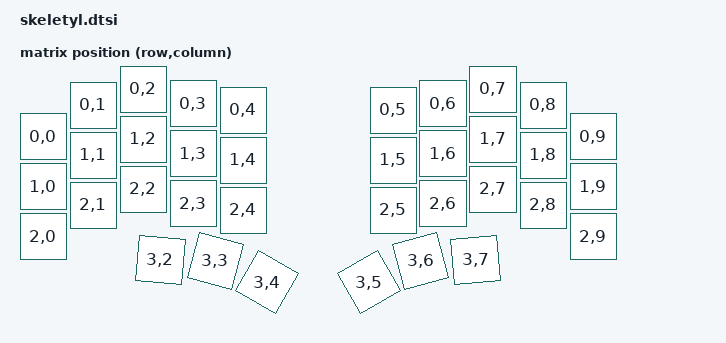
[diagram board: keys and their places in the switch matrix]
#include <dt-bindings/zmk/matrix_transform.h>
#include <physical_layouts.dtsi>

/ {
   // chosen {
   //     zmk,kscan = &kscan0;
   //     zmk,matrix_transform = &default_transform;
   // };

    default_transform: keymap_transform_0 {
        compatible = "zmk,matrix-transform";
        columns = <10>;
        rows = <4>;
// | SW5  | SW4  | SW3  | SW2  | SW1  |                 | SW1  | SW2  | SW3  | SW4  | SW5  |
// | SW10 | SW9  | SW8  | SW7  | SW6  |                 | SW6  | SW7  | SW8  | SW9  | SW10 |
// | SW15 | SW14 | SW13 | SW12 | SW11 |                 | SW11 | SW12 | SW13 | SW14 | SW15 |
//                      | SW18 | SW17 | SW16 |   | SW16 | SW17 | SW18 |
        map = <
RC(0,0) RC(0,1) RC(0,2) RC(0,3) RC(0,4)                 RC(0,5) RC(0,6) RC(0,7) RC(0,8) RC(0,9)
RC(1,0) RC(1,1) RC(1,2) RC(1,3) RC(1,4)                 RC(1,5) RC(1,6) RC(1,7) RC(1,8) RC(1,9)
RC(2,0) RC(2,1) RC(2,2) RC(2,3) RC(2,4)                 RC(2,5) RC(2,6) RC(2,7) RC(2,8) RC(2,9)
                        RC(3,2) RC(3,3) RC(3,4) RC(3,5) RC(3,6) RC(3,7)
        >;
    };

    kscan0: kscan {
        compatible = "zmk,kscan-gpio-matrix";
        diode-direction = "col2row"; // use row2col if using amoeba pcb
        wakeup-source;
    };
    
    physical_layout0: physical_layout_0 {
        compatible = "zmk,physical-layout";
        display-name = "Default";

        kscan = <&kscan0>;
        transform = <&default_transform>;

        keys  //                     w   h    x    y     rot    rx    ry
            = <&key_physical_attrs 100 100    0   95       0     0     0>
            , <&key_physical_attrs 100 100  100   32       0     0     0>
            , <&key_physical_attrs 100 100  200    0       0     0     0>
            , <&key_physical_attrs 100 100  300   29       0     0     0>
            , <&key_physical_attrs 100 100  400   42       0     0     0>
            , <&key_physical_attrs 100 100  700   42       0     0     0>
            , <&key_physical_attrs 100 100  800   29       0     0     0>
            , <&key_physical_attrs 100 100  900    0       0     0     0>
            , <&key_physical_attrs 100 100 1000   32       0     0     0>
            , <&key_physical_attrs 100 100 1100   95       0     0     0>
            , <&key_physical_attrs 100 100    0  195       0     0     0>
            , <&key_physical_attrs 100 100  100  132       0     0     0>
            , <&key_physical_attrs 100 100  200  100       0     0     0>
            , <&key_physical_attrs 100 100  300  129       0     0     0>
            , <&key_physical_attrs 100 100  400  142       0     0     0>
            , <&key_physical_attrs 100 100  700  142       0     0     0>
            , <&key_physical_attrs 100 100  800  129       0     0     0>
            , <&key_physical_attrs 100 100  900  100       0     0     0>
            , <&key_physical_attrs 100 100 1000  132       0     0     0>
            , <&key_physical_attrs 100 100 1100  195       0     0     0>
            , <&key_physical_attrs 100 100    0  295       0     0     0>
            , <&key_physical_attrs 100 100  100  232       0     0     0>
            , <&key_physical_attrs 100 100  200  200       0     0     0>
            , <&key_physical_attrs 100 100  300  229       0     0     0>
            , <&key_physical_attrs 100 100  400  242       0     0     0>
            , <&key_physical_attrs 100 100  700  242       0     0     0>
            , <&key_physical_attrs 100 100  800  229       0     0     0>
            , <&key_physical_attrs 100 100  900  200       0     0     0>
            , <&key_physical_attrs 100 100 1000  232       0     0     0>
            , <&key_physical_attrs 100 100 1100  295       0     0     0>
            , <&key_physical_attrs 100 100  230  355     500   430   455>
            , <&key_physical_attrs 100 100  330  355    1500   430   455>
            , <&key_physical_attrs 100 100  430  355    3000   430   455>
            , <&key_physical_attrs 100 100  670  355 (-3000)   770   455>
            , <&key_physical_attrs 100 100  770  355 (-1500)   770   455>
            , <&key_physical_attrs 100 100  870  355  (-500)   770   455>
            ;
    }; 

    split_inputs {
        #address-cells = <1>;
        #size-cells = <0>;

        trackball_split: trackball_split@0 {
            compatible = "zmk,input-split";
            reg = <0>;
        };
    };
};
